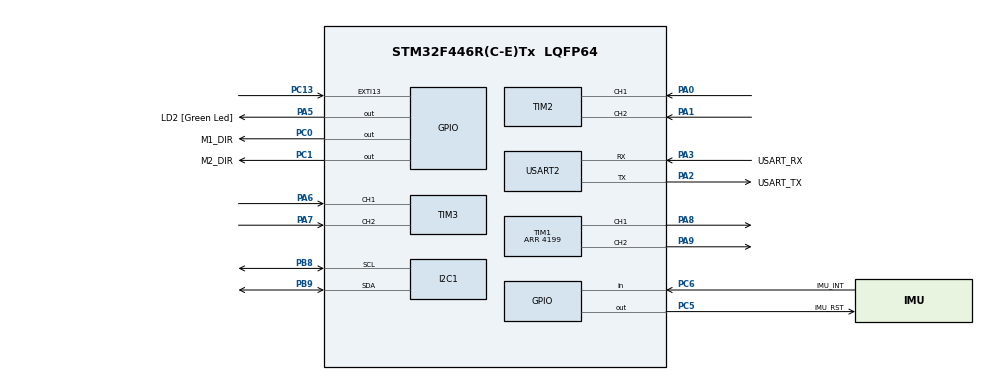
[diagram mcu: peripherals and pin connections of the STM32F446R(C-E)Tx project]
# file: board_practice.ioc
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Mcu.Family=STM32F4
Mcu.Name=STM32F446R(C-E)Tx
Mcu.Package=LQFP64
NUCLEO-F446RE.BUTTON=1
NVIC.EXTI15_10_IRQn=true\:0\:0\:false\:false\:true\:false\:true\:true
NVIC.PriorityGroup=NVIC_PRIORITYGROUP_0
NVIC.USART2_IRQn=true\:0\:0\:false\:false\:true\:true\:true\:true
PA0-WKUP.Signal=S_TIM2_CH1_ETR
PA1.Signal=S_TIM2_CH2
PA13.GPIO_Label=TMS
PA13.Signal=SYS_JTMS-SWDIO
PA14.GPIO_Label=TCK
PA14.Signal=SYS_JTCK-SWCLK
PA2.GPIO_Label=USART_TX
PA2.Mode=Asynchronous
PA2.Signal=USART2_TX
PA3.GPIO_Label=USART_RX
PA3.Mode=Asynchronous
PA3.Signal=USART2_RX
PA5.GPIO_Label=LD2 [Green Led]
PA5.Signal=GPIO_Output
PA6.Signal=S_TIM3_CH1
PA7.Signal=S_TIM3_CH2
PA8.Signal=S_TIM1_CH1
PA9.Signal=S_TIM1_CH2
PB3.GPIO_Label=SWO
PB3.Signal=SYS_JTDO-SWO
PB8.Mode=I2C
PB8.Signal=I2C1_SCL
PB9.Mode=I2C
PB9.Signal=I2C1_SDA
PC0.GPIO_Label=M1_DIR
PC0.Signal=GPIO_Output
PC1.GPIO_Label=M2_DIR
PC1.Signal=GPIO_Output
PC13.Signal=GPXTI13
PC14-OSC32_IN.Signal=RCC_OSC32_IN
PC15-OSC32_OUT.Signal=RCC_OSC32_OUT
PC5.GPIO_Label=IMU_RST
PC5.PinState=GPIO_PIN_SET
PC5.Signal=GPIO_Output
PC6.GPIO_Label=IMU_INT
PC6.GPIO_PuPd=GPIO_PULLUP
PC6.Signal=GPIO_Input
PH0-OSC_IN.Signal=RCC_OSC_IN
PH1-OSC_OUT.Signal=RCC_OSC_OUT
ProjectManager.HeapSize=0x200
ProjectManager.StackSize=0x400
ProjectManager.TargetToolchain=STM32CubeIDE
RCC.AHBFreq_Value=84000000
RCC.APB1CLKDivider=RCC_HCLK_DIV2
RCC.APB1Freq_Value=42000000
RCC.APB1TimFreq_Value=84000000
RCC.APB2Freq_Value=84000000
RCC.APB2TimFreq_Value=84000000
RCC.CortexFreq_Value=84000000
RCC.FLatency-AdvancedSettings=FLASH_LATENCY_2
RCC.HCLKFreq_Value=84000000
RCC.HSE_VALUE=8000000
RCC.HSI_VALUE=16000000
RCC.LSE_VALUE=32768
RCC.PLLN=336
RCC.PLLP=RCC_PLLP_DIV4
RCC.SYSCLKFreq_VALUE=84000000
RCC.SYSCLKSource=RCC_SYSCLKSOURCE_PLLCLK
RCC.USBFreq_Value=168000000
RCC.VCOOutputFreq_Value=336000000
SH.S_TIM1_CH1.0=TIM1_CH1,PWM Generation1 CH1
SH.S_TIM1_CH2.0=TIM1_CH2,PWM Generation2 CH2
SH.S_TIM2_CH1_ETR.0=TIM2_CH1,Encoder_Interface
SH.S_TIM2_CH2.0=TIM2_CH2,Encoder_Interface
SH.S_TIM3_CH1.0=TIM3_CH1,Encoder_Interface
SH.S_TIM3_CH2.0=TIM3_CH2,Encoder_Interface
TIM1.AutoReloadPreload=TIM_AUTORELOAD_PRELOAD_ENABLE
TIM1.Channel-PWM\ Generation1\ CH1=TIM_CHANNEL_1
TIM1.Channel-PWM\ Generation2\ CH2=TIM_CHANNEL_2
TIM1.Period=4199
TIM2.EncoderMode=TIM_ENCODERMODE_TI12
TIM2.IC1Filter=4
TIM2.IC2Filter=4
TIM3.EncoderMode=TIM_ENCODERMODE_TI12
TIM3.IC1Filter=4
TIM3.IC2Filter=4
USART2.VirtualMode=VM_ASYNC
VP_NUCLEO-F446RE_VS_BSP_COMMON.Mode=COMMON
VP_TIM1_VS_ClockSourceINT.Mode=Internal
board=NUCLEO-F446RE

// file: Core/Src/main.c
/* USER CODE BEGIN Header */
/**
  ******************************************************************************
  * @file           : main.c
  * @brief          : Main program body
  ******************************************************************************
  * @attention
  *
  * Copyright (c) 2026 STMicroelectronics.
  * All rights reserved.
  *
  * This software is licensed under terms that can be found in the LICENSE file
  * in the root directory of this software component.
  * If no LICENSE file comes with this software, it is provided AS-IS.
  *
  ******************************************************************************
  */
/* USER CODE END Header */
#include "main.h"

/* USER CODE BEGIN Includes */
#include <stdio.h>
#include "motor_control.h"
#include "robot_control.h"
#include "imu_app.h"

#include <stdlib.h>
#include <string.h>
#include <errno.h>
#include <math.h>
/* USER CODE END Includes */

/* USER CODE BEGIN PD */
#define COMMAND_TIMEOUT_MS 500U
#define CONTROL_PERIOD_MS 100U
/* ROS2 odom/TF 주기. SLAM·Nav2를 위해 1000 ms에서 100 ms(10 Hz)로 변경 */
#define TELEMETRY_PERIOD_MS 100U
/* 이 시간보다 오래된 IMU 값은 telemetry에 넣지 않는다(IS=0). */
#define IMU_MAX_AGE_MS 100U
/* USER CODE END PD */

I2C_HandleTypeDef hi2c1;

TIM_HandleTypeDef htim1;
TIM_HandleTypeDef htim2;
TIM_HandleTypeDef htim3;

UART_HandleTypeDef huart2;

/* USER CODE BEGIN PV */
Motor motor1 = {
	.config = {
		.encoder_timer = &htim2,
		.pwm_timer = &htim1,
		.pwm_channel = TIM_CHANNEL_1,

		.dir_port = M1_DIR_GPIO_Port,
		.dir_pin = M1_DIR_Pin,

		.encoder_bits = 32U,
		.encoder_sign = 1,

		.counts_per_turn = 2473.6f,
		/* 2026-11-23 Jetson·배터리 탑재 후 LiDAR 스캔 매칭 24구간: 엔코더가 실제보다 전진 -2.1°,
		 * 후진 +2.2° 돌았다고 계산(오른쪽이 1.7% 덜 셈). 342.7/333.5로 1차 보정 후 반대로 넘어가(+1.6°)
		 * 보간한 343.9/332.3에서 엔코더-실제 회전 차이 약 0 (±0.5°). 평균 거리 유지. */
		.wheel_circumference_mm = 343.9f,

		/* 고정 듀티 시험(9~14%) 좌우 평균 직선 근사: duty = 7.5 + 0.097 v.
		 * 좌우 차이는 고정하지 않는다(GitHub 기록상 더 빠른 쪽이 매번 같지 않음).
		 * 차이는 heading hold(엔코더 P + IMU I)가 보정한다. */
		.ff_offset_percent = 7.5f,
		.ff_slope_percent_per_mm_s = 0.097f
	}
};

Motor motor2 = {
	.config = {
		.encoder_timer = &htim3,
		.pwm_timer = &htim1,
		.pwm_channel = TIM_CHANNEL_2,

		.dir_port = M2_DIR_GPIO_Port,
		.dir_pin = M2_DIR_Pin,

		.encoder_bits = 16U,
		.encoder_sign = 1,

		.counts_per_turn = 2464.5f,
		/* 2026-11-22 볼 캐스터 1개, 50 cm 왕복 시험: 전진·후진 모두 엔코더가 IMU보다
		 * 약 5° 더 돈 것으로 계산(오른쪽이 약 4.3% 더 감)되어 345.6 x 0.957 = 330.7로 보정.
		 * 보정 후 엔코더-IMU 차이 0.5° 이하. 타이어 지름 차이 등 원인은 미확정. */
		.wheel_circumference_mm = 332.3f,

		.ff_offset_percent = 7.5f,
		.ff_slope_percent_per_mm_s = 0.097f
	}
};

Robot robot = {
	.left_motor = &motor1,
	.right_motor = &motor2,
	.wheel_track_mm = WHEEL_TRACK_MM,
	.heading = {
		.kp_encoder = HEADING_KP,
		.kp_imu = HEADING_KP_IMU,
		.ki = HEADING_KI,
		.max_corr_rad_s = HEADING_MAX_CORR_RAD_S
	}
};
float linear_speed_mm_s = 0.0f;
float angular_speed_rad_s = 0.0f;

/* 기본 odom 필드 + IMU 필드 한 줄 (최대 약 170자) */
static char uart_message[224];
static uint32_t telemetry_seq = 0U;
static volatile uint8_t uart_tx_busy = 0U;

HAL_StatusTypeDef uart_tx_status = HAL_OK;

#define UART_RX_BUFFER_SIZE 64U

static uint8_t uart_rx_byte;
static uint8_t uart_rx_buffer[UART_RX_BUFFER_SIZE];

static volatile uint16_t uart_rx_head = 0U;
static volatile uint16_t uart_rx_tail = 0U;

static volatile uint8_t uart_rx_overflow = 0U;

HAL_StatusTypeDef uart_rx_status = HAL_OK;

static char uart_line[64];
static uint16_t uart_line_length = 0U;
static uint8_t uart_line_ready = 0U;
static uint8_t uart_discard_line = 0U;

static uint32_t last_command_tick = 0U;

/* USER CODE END PV */

void SystemClock_Config(void);
static void MX_GPIO_Init(void);
static void MX_TIM2_Init(void);
static void MX_TIM1_Init(void);
static void MX_TIM3_Init(void);
static void MX_USART2_UART_Init(void);
static void MX_I2C1_Init(void);

/* USER CODE BEGIN 0 */
void HAL_UART_TxCpltCallback(UART_HandleTypeDef *huart){
	if (huart->Instance == USART2) {
		uart_tx_busy = 0U;
	}
}

void HAL_UART_RxCpltCallback(UART_HandleTypeDef *huart){
	if (huart->Instance == USART2) {
		const uint16_t next_head =
			(uart_rx_head + 1U) % UART_RX_BUFFER_SIZE;

		if (next_head != uart_rx_tail) {
			/* 문자를 저장한 뒤 저장 위치를 공개합니다. */
			uart_rx_buffer[uart_rx_head] = uart_rx_byte;
			uart_rx_head = next_head;
		}
		else {
			/* 해석이나 모터 제어는 하지 않고 상태만 표시합니다. */
			uart_rx_overflow = 1U;
		}

		/* 다음 문자도 받도록 다시 요청합니다. */
		uart_rx_status = HAL_UART_Receive_IT(
			&huart2,
			&uart_rx_byte,
			1U
		);
	}
}

static void UART_ReceiveTask(void)
{
    /* 완성된 명령은 메인이 해석할 때까지 유지합니다. */
    if (uart_line_ready != 0U) {
        return;
    }

    if (uart_rx_overflow != 0U) {
        /* 넘친 버퍼를 비우는 짧은 구간만 인터럽트를 막습니다. */
        const uint32_t saved_primask = __get_PRIMASK();
        __disable_irq();

        uart_rx_tail = uart_rx_head;
        uart_rx_overflow = 0U;

        __set_PRIMASK(saved_primask);

        uart_line_length = 0U;
        uart_discard_line = 1U;
    }

    /* 한 번의 호출에서 처리량을 제한해 모터 제어로 돌아갑니다. */
    for (uint16_t i = 0U; i < UART_RX_BUFFER_SIZE; i++) {
        if (uart_rx_tail == uart_rx_head) {
            break;
        }

        const uint8_t received = uart_rx_buffer[uart_rx_tail];

        uart_rx_tail =
            (uart_rx_tail + 1U) % UART_RX_BUFFER_SIZE;

        if (received == '\n') {
            if (uart_discard_line == 0U &&
                uart_line_length > 0U) {

                uart_line[uart_line_length] = '\0';
                uart_line_length = 0U;
                uart_line_ready = 1U;
                return;
            }

            uart_line_length = 0U;
            uart_discard_line = 0U;
        }
        else if (received == '\r') {
            /* CRLF 줄바꿈의 CR은 제외합니다. */
        }
        else if (uart_discard_line == 0U) {
            if (received >= 32U && received <= 126U &&
                uart_line_length < sizeof(uart_line) - 1U) {

                uart_line[uart_line_length++] = (char)received;
            }
            else {
                /* 잘린 명령을 적용하지 않도록 줄 전체를 버립니다. */
                uart_line_length = 0U;
                uart_discard_line = 1U;
            }
        }
    }
}

static void UART_ApplyCommand(void)
{
    if (strncmp(uart_line, "V=", 2U) != 0) {
        return;
    }

    char *end;
    const char *start = uart_line + 2;

    errno = 0;
    const long linear = strtol(start, &end, 10);

    if (end == start || errno == ERANGE ||
        strncmp(end, " W=", 3U) != 0) {
        return;
    }

    start = end + 3;

    errno = 0;
    const long angular = strtol(start, &end, 10);

    if (end == start || errno == ERANGE || *end != '\0') {
        return;
    }

    /* 이번 명령 인터페이스의 허용 범위입니다. */
    if (linear < -200L || linear > 200L ||
        angular < -2000L || angular > 2000L) {
        return;
    }

    /* 두 값이 모두 정상일 때만 함께 적용합니다. */
    linear_speed_mm_s = (float)linear;
    angular_speed_rad_s = (float)angular / 1000.0f;

    last_command_tick = HAL_GetTick();
}

/*
 * ROS2로 보내는 telemetry 한 줄을 만든다.
 *   L=<mm/s> R=<mm/s> X=<mm> Y=<mm> A=<mrad> T=<ms> N=<seq> IS=<0|1>
 *   IS=1이면 뒤에 QX QY QZ QW(쿼터니언 x10000), GX GY GZ(mrad/s), QA GA(정확도 0~3)를 붙인다.
 * IMU 값은 센서 자체 축 기준이다.
 */
static int Telemetry_Format(uint32_t now)
{
	int length = snprintf(
		uart_message,
		sizeof(uart_message),
		"L=%ld R=%ld X=%ld Y=%ld A=%ld T=%lu N=%lu H=%ld",
		(long)motor1.state.speed_mm_s,
		(long)motor2.state.speed_mm_s,
		(long)robot.state.x_mm,
		(long)robot.state.y_mm,
		(long)(robot.state.yaw_rad * 1000.0f),
		(unsigned long)now,
		(unsigned long)telemetry_seq,
		/* 방향 유지 보정 각속도 mrad/s, 직진 보정 중이 아니면 0 */
		(long)lroundf(robot.hold.correction_rad_s * 1000.0f)
	);

	if (length <= 0 || (size_t)length >= sizeof(uart_message)) {
		return -1;
	}

	int added;

	if (ImuApp_IsFresh(IMU_MAX_AGE_MS) != 0U) {
		added = snprintf(
			uart_message + length,
			sizeof(uart_message) - (size_t)length,
			" IS=1 QX=%ld QY=%ld QZ=%ld QW=%ld GX=%ld GY=%ld GZ=%ld QA=%u GA=%u\r\n",
			(long)lroundf(g_imu.qx * 10000.0f),
			(long)lroundf(g_imu.qy * 10000.0f),
			(long)lroundf(g_imu.qz * 10000.0f),
			(long)lroundf(g_imu.qw * 10000.0f),
			(long)lroundf(g_imu.gx * 1000.0f),
			(long)lroundf(g_imu.gy * 1000.0f),
			(long)lroundf(g_imu.gz * 1000.0f),
			(unsigned)g_imu.rotation_status,
			(unsigned)g_imu.gyro_status
		);
	}
	else {
		added = snprintf(
			uart_message + length,
			sizeof(uart_message) - (size_t)length,
			" IS=0\r\n"
		);
	}

	if (added <= 0 || (size_t)(length + added) >= sizeof(uart_message)) {
		return -1;
	}

	return length + added;
}

/* USER CODE END 0 */

int main(void)
{

  /* USER CODE BEGIN 1 */
	uint32_t previous_tick = 0;

	uint32_t previous_uart_tick = 0;
  /* USER CODE END 1 */

  /* MCU Configuration--------------------------------------------------------*/

  /* Reset of all peripherals, Initializes the Flash interface and the Systick. */
  HAL_Init();

  /* Configure the system clock */
  SystemClock_Config();

  /* Initialize all configured peripherals */
  MX_GPIO_Init();
  MX_TIM2_Init();
  MX_TIM1_Init();
  MX_TIM3_Init();
  MX_USART2_UART_Init();
  MX_I2C1_Init();
  /* USER CODE BEGIN 2 */
  /* BNO085 리셋·연결·보고서 설정. 모터가 돌기 전이므로 대기해도 안전하다.
     센서가 없거나 실패해도 모터 제어는 계속 동작한다(g_imu.online = 0). */
  ImuApp_Init(&hi2c1);

  if (Motor_Init(&motor1) != HAL_OK){
	  Error_Handler();
  }
  if (Motor_Init(&motor2) != HAL_OK){
  	  Error_Handler();
  }

  previous_tick = HAL_GetTick();

  uart_rx_status = HAL_UART_Receive_IT(
	  &huart2, &uart_rx_byte, 1U
  );

  if (uart_rx_status != HAL_OK){
	  Error_Handler();
  }
  /* USER CODE END 2 */

  /* Initialize USER push-button, will be used to trigger an interrupt each time it's pressed.*/
  BSP_PB_Init(BUTTON_USER, BUTTON_MODE_EXTI);

  /* Infinite loop */
  while (1)
  {

    /* USER CODE BEGIN 3 */
	  UART_ReceiveTask();

	    if (uart_line_ready != 0U) {
	        UART_ApplyCommand();

	        uart_line_ready = 0U;
	    }

	  const uint32_t now = HAL_GetTick();

	    if ((uint32_t)(now - last_command_tick) >= COMMAND_TIMEOUT_MS) {
	        linear_speed_mm_s = 0.0f;
	        angular_speed_rad_s = 0.0f;
	    }

	  /* IMU 수신. 재연결(수백 ms 대기)은 정지 명령 상태에서만 허용한다. */
	  ImuApp_Process(
		  (linear_speed_mm_s == 0.0f && angular_speed_rad_s == 0.0f) ? 1U : 0U
	  );

	  if ((uint32_t)(now - previous_tick) >= CONTROL_PERIOD_MS){
		  const uint32_t sample_dt_ms = now - previous_tick;

		  Robot_SetFeedforward(
			  &robot,
			  linear_speed_mm_s,
			  angular_speed_rad_s
		  );

		  /* 직진 명령(W=0)일 때만 방향 유지 보정을 더한다. */
		  const float angular_command = Robot_HeadingHold(
			  &robot,
			  linear_speed_mm_s,
			  angular_speed_rad_s,
			  ImuApp_IsFresh(IMU_MAX_AGE_MS),
			  g_imu.yaw_rad,
			  sample_dt_ms
		  );

		  Robot_SetVelocity(
			  &robot,
			  linear_speed_mm_s,
			  angular_command
		  );
		  // 모터 측정과 제어 수행
		  Robot_Update(&robot, sample_dt_ms);

		  previous_tick = now;
	  }

	  if ((uint32_t)(now - previous_uart_tick) >= TELEMETRY_PERIOD_MS) {
		  previous_uart_tick = now;

		  if (uart_tx_busy == 0U){
			  const int length = Telemetry_Format(now);
			  telemetry_seq++;

			  if (length > 0){

				  uart_tx_busy = 1U;

				  uart_tx_status = HAL_UART_Transmit_IT(
					  &huart2,
					  (uint8_t *)uart_message,
					  (uint16_t)length
				  );

				  if (uart_tx_status != HAL_OK){
					  uart_tx_busy = 0U;
				  }
			  }
		  }
	  }
  }
  /* USER CODE END 3 */
}

void SystemClock_Config(void)
{
  RCC_OscInitTypeDef RCC_OscInitStruct = {0};
  RCC_ClkInitTypeDef RCC_ClkInitStruct = {0};

  /* encorder_test 설정: ST-LINK MCO 8 MHz를 HSE Bypass로 시도하고,
   * 준비 실패 시 HSI로 복귀한다. 두 경로 모두 SYSCLK 84 MHz.
   * CubeMX 재생성 시 이 사용자 변경이 덮어써지므로 다시 적용해야 한다. */
  uint8_t hse_active = 0U;
  {
    RCC_OscInitTypeDef hse_probe = {0};
    hse_probe.OscillatorType = RCC_OSCILLATORTYPE_HSE;
    hse_probe.HSEState = RCC_HSE_BYPASS;
    hse_probe.PLL.PLLState = RCC_PLL_NONE;
    if (HAL_RCC_OscConfig(&hse_probe) == HAL_OK){
      hse_active = 1U;
    }
    else{
      hse_probe.HSEState = RCC_HSE_OFF;
      if (HAL_RCC_OscConfig(&hse_probe) != HAL_OK){
        Error_Handler();
      }
    }
  }

  /** Configure the main internal regulator output voltage
  */
  __HAL_RCC_PWR_CLK_ENABLE();
  __HAL_PWR_VOLTAGESCALING_CONFIG(PWR_REGULATOR_VOLTAGE_SCALE3);

  /** Initializes the RCC Oscillators according to the specified parameters
  * in the RCC_OscInitTypeDef structure.
  */
  RCC_OscInitStruct.OscillatorType = RCC_OSCILLATORTYPE_HSI;
  RCC_OscInitStruct.HSIState = RCC_HSI_ON;
  RCC_OscInitStruct.HSICalibrationValue = RCC_HSICALIBRATION_DEFAULT;
  RCC_OscInitStruct.PLL.PLLState = RCC_PLL_ON;
  RCC_OscInitStruct.PLL.PLLSource =
      hse_active != 0U ? RCC_PLLSOURCE_HSE : RCC_PLLSOURCE_HSI;
  RCC_OscInitStruct.PLL.PLLM = hse_active != 0U ? 8U : 16U;
  RCC_OscInitStruct.PLL.PLLN = 336;
  RCC_OscInitStruct.PLL.PLLP = RCC_PLLP_DIV4;
  RCC_OscInitStruct.PLL.PLLQ = 2;
  RCC_OscInitStruct.PLL.PLLR = 2;
  if (HAL_RCC_OscConfig(&RCC_OscInitStruct) != HAL_OK)
  {
    Error_Handler();
  }

  /** Initializes the CPU, AHB and APB buses clocks
  */
  RCC_ClkInitStruct.ClockType = RCC_CLOCKTYPE_HCLK|RCC_CLOCKTYPE_SYSCLK
                              |RCC_CLOCKTYPE_PCLK1|RCC_CLOCKTYPE_PCLK2;
  RCC_ClkInitStruct.SYSCLKSource = RCC_SYSCLKSOURCE_PLLCLK;
  RCC_ClkInitStruct.AHBCLKDivider = RCC_SYSCLK_DIV1;
  RCC_ClkInitStruct.APB1CLKDivider = RCC_HCLK_DIV2;
  RCC_ClkInitStruct.APB2CLKDivider = RCC_HCLK_DIV1;

  if (HAL_RCC_ClockConfig(&RCC_ClkInitStruct, FLASH_LATENCY_2) != HAL_OK)
  {
    Error_Handler();
  }
}

static void MX_I2C1_Init(void)
{

  hi2c1.Instance = I2C1;
  hi2c1.Init.ClockSpeed = 100000;
  hi2c1.Init.DutyCycle = I2C_DUTYCYCLE_2;
  hi2c1.Init.OwnAddress1 = 0;
  hi2c1.Init.AddressingMode = I2C_ADDRESSINGMODE_7BIT;
  hi2c1.Init.DualAddressMode = I2C_DUALADDRESS_DISABLE;
  hi2c1.Init.OwnAddress2 = 0;
  hi2c1.Init.GeneralCallMode = I2C_GENERALCALL_DISABLE;
  hi2c1.Init.NoStretchMode = I2C_NOSTRETCH_DISABLE;
  if (HAL_I2C_Init(&hi2c1) != HAL_OK)
  {
    Error_Handler();
  }

}

static void MX_TIM1_Init(void)
{

  TIM_ClockConfigTypeDef sClockSourceConfig = {0};
  TIM_MasterConfigTypeDef sMasterConfig = {0};
  TIM_OC_InitTypeDef sConfigOC = {0};
  TIM_BreakDeadTimeConfigTypeDef sBreakDeadTimeConfig = {0};

  htim1.Instance = TIM1;
  htim1.Init.Prescaler = 0;
  htim1.Init.CounterMode = TIM_COUNTERMODE_UP;
  htim1.Init.Period = 4199;
  htim1.Init.ClockDivision = TIM_CLOCKDIVISION_DIV1;
  htim1.Init.RepetitionCounter = 0;
  htim1.Init.AutoReloadPreload = TIM_AUTORELOAD_PRELOAD_ENABLE;
  if (HAL_TIM_Base_Init(&htim1) != HAL_OK)
  {
    Error_Handler();
  }
  sClockSourceConfig.ClockSource = TIM_CLOCKSOURCE_INTERNAL;
  if (HAL_TIM_ConfigClockSource(&htim1, &sClockSourceConfig) != HAL_OK)
  {
    Error_Handler();
  }
  if (HAL_TIM_PWM_Init(&htim1) != HAL_OK)
  {
    Error_Handler();
  }
  sMasterConfig.MasterOutputTrigger = TIM_TRGO_RESET;
  sMasterConfig.MasterSlaveMode = TIM_MASTERSLAVEMODE_DISABLE;
  if (HAL_TIMEx_MasterConfigSynchronization(&htim1, &sMasterConfig) != HAL_OK)
  {
    Error_Handler();
  }
  sConfigOC.OCMode = TIM_OCMODE_PWM1;
  sConfigOC.Pulse = 0;
  sConfigOC.OCPolarity = TIM_OCPOLARITY_HIGH;
  sConfigOC.OCNPolarity = TIM_OCNPOLARITY_HIGH;
  sConfigOC.OCFastMode = TIM_OCFAST_DISABLE;
  sConfigOC.OCIdleState = TIM_OCIDLESTATE_RESET;
  sConfigOC.OCNIdleState = TIM_OCNIDLESTATE_RESET;
  if (HAL_TIM_PWM_ConfigChannel(&htim1, &sConfigOC, TIM_CHANNEL_1) != HAL_OK)
  {
    Error_Handler();
  }
  if (HAL_TIM_PWM_ConfigChannel(&htim1, &sConfigOC, TIM_CHANNEL_2) != HAL_OK)
  {
    Error_Handler();
  }
  sBreakDeadTimeConfig.OffStateRunMode = TIM_OSSR_DISABLE;
  sBreakDeadTimeConfig.OffStateIDLEMode = TIM_OSSI_DISABLE;
  sBreakDeadTimeConfig.LockLevel = TIM_LOCKLEVEL_OFF;
  sBreakDeadTimeConfig.DeadTime = 0;
  sBreakDeadTimeConfig.BreakState = TIM_BREAK_DISABLE;
  sBreakDeadTimeConfig.BreakPolarity = TIM_BREAKPOLARITY_HIGH;
  sBreakDeadTimeConfig.AutomaticOutput = TIM_AUTOMATICOUTPUT_DISABLE;
  if (HAL_TIMEx_ConfigBreakDeadTime(&htim1, &sBreakDeadTimeConfig) != HAL_OK)
  {
    Error_Handler();
  }
  HAL_TIM_MspPostInit(&htim1);

}

static void MX_TIM2_Init(void)
{

  TIM_Encoder_InitTypeDef sConfig = {0};
  TIM_MasterConfigTypeDef sMasterConfig = {0};

  htim2.Instance = TIM2;
  htim2.Init.Prescaler = 0;
  htim2.Init.CounterMode = TIM_COUNTERMODE_UP;
  htim2.Init.Period = 4294967295;
  htim2.Init.ClockDivision = TIM_CLOCKDIVISION_DIV1;
  htim2.Init.AutoReloadPreload = TIM_AUTORELOAD_PRELOAD_DISABLE;
  sConfig.EncoderMode = TIM_ENCODERMODE_TI12;
  sConfig.IC1Polarity = TIM_ICPOLARITY_RISING;
  sConfig.IC1Selection = TIM_ICSELECTION_DIRECTTI;
  sConfig.IC1Prescaler = TIM_ICPSC_DIV1;
  sConfig.IC1Filter = 4;
  sConfig.IC2Polarity = TIM_ICPOLARITY_RISING;
  sConfig.IC2Selection = TIM_ICSELECTION_DIRECTTI;
  sConfig.IC2Prescaler = TIM_ICPSC_DIV1;
  sConfig.IC2Filter = 4;
  if (HAL_TIM_Encoder_Init(&htim2, &sConfig) != HAL_OK)
  {
    Error_Handler();
  }
  sMasterConfig.MasterOutputTrigger = TIM_TRGO_RESET;
  sMasterConfig.MasterSlaveMode = TIM_MASTERSLAVEMODE_DISABLE;
  if (HAL_TIMEx_MasterConfigSynchronization(&htim2, &sMasterConfig) != HAL_OK)
  {
    Error_Handler();
  }

}

static void MX_TIM3_Init(void)
{

  TIM_Encoder_InitTypeDef sConfig = {0};
  TIM_MasterConfigTypeDef sMasterConfig = {0};

  htim3.Instance = TIM3;
  htim3.Init.Prescaler = 0;
  htim3.Init.CounterMode = TIM_COUNTERMODE_UP;
  htim3.Init.Period = 65535;
  htim3.Init.ClockDivision = TIM_CLOCKDIVISION_DIV1;
  htim3.Init.AutoReloadPreload = TIM_AUTORELOAD_PRELOAD_DISABLE;
  sConfig.EncoderMode = TIM_ENCODERMODE_TI12;
  sConfig.IC1Polarity = TIM_ICPOLARITY_RISING;
  sConfig.IC1Selection = TIM_ICSELECTION_DIRECTTI;
  sConfig.IC1Prescaler = TIM_ICPSC_DIV1;
  sConfig.IC1Filter = 4;
  sConfig.IC2Polarity = TIM_ICPOLARITY_RISING;
  sConfig.IC2Selection = TIM_ICSELECTION_DIRECTTI;
  sConfig.IC2Prescaler = TIM_ICPSC_DIV1;
  sConfig.IC2Filter = 4;
  if (HAL_TIM_Encoder_Init(&htim3, &sConfig) != HAL_OK)
  {
    Error_Handler();
  }
  sMasterConfig.MasterOutputTrigger = TIM_TRGO_RESET;
  sMasterConfig.MasterSlaveMode = TIM_MASTERSLAVEMODE_DISABLE;
  if (HAL_TIMEx_MasterConfigSynchronization(&htim3, &sMasterConfig) != HAL_OK)
  {
    Error_Handler();
  }

}

static void MX_USART2_UART_Init(void)
{

  huart2.Instance = USART2;
  huart2.Init.BaudRate = 115200;
  huart2.Init.WordLength = UART_WORDLENGTH_8B;
  huart2.Init.StopBits = UART_STOPBITS_1;
  huart2.Init.Parity = UART_PARITY_NONE;
  huart2.Init.Mode = UART_MODE_TX_RX;
  huart2.Init.HwFlowCtl = UART_HWCONTROL_NONE;
  huart2.Init.OverSampling = UART_OVERSAMPLING_16;
  if (HAL_UART_Init(&huart2) != HAL_OK)
  {
    Error_Handler();
  }

}

static void MX_GPIO_Init(void)
{
  GPIO_InitTypeDef GPIO_InitStruct = {0};

  /* GPIO Ports Clock Enable */
  __HAL_RCC_GPIOC_CLK_ENABLE();
  __HAL_RCC_GPIOH_CLK_ENABLE();
  __HAL_RCC_GPIOA_CLK_ENABLE();
  __HAL_RCC_GPIOB_CLK_ENABLE();

  /*Configure GPIO pin Output Level */
  HAL_GPIO_WritePin(GPIOC, M1_DIR_Pin|M2_DIR_Pin, GPIO_PIN_RESET);

  /*Configure GPIO pin Output Level */
  HAL_GPIO_WritePin(LD2_GPIO_Port, LD2_Pin, GPIO_PIN_RESET);

  /*Configure GPIO pin Output Level */
  HAL_GPIO_WritePin(IMU_RST_GPIO_Port, IMU_RST_Pin, GPIO_PIN_SET);

  /*Configure GPIO pins : M1_DIR_Pin M2_DIR_Pin IMU_RST_Pin */
  GPIO_InitStruct.Pin = M1_DIR_Pin|M2_DIR_Pin|IMU_RST_Pin;
  GPIO_InitStruct.Mode = GPIO_MODE_OUTPUT_PP;
  GPIO_InitStruct.Pull = GPIO_NOPULL;
  GPIO_InitStruct.Speed = GPIO_SPEED_FREQ_LOW;
  HAL_GPIO_Init(GPIOC, &GPIO_InitStruct);

  /*Configure GPIO pin : LD2_Pin */
  GPIO_InitStruct.Pin = LD2_Pin;
  GPIO_InitStruct.Mode = GPIO_MODE_OUTPUT_PP;
  GPIO_InitStruct.Pull = GPIO_NOPULL;
  GPIO_InitStruct.Speed = GPIO_SPEED_FREQ_LOW;
  HAL_GPIO_Init(LD2_GPIO_Port, &GPIO_InitStruct);

  /*Configure GPIO pin : IMU_INT_Pin */
  GPIO_InitStruct.Pin = IMU_INT_Pin;
  GPIO_InitStruct.Mode = GPIO_MODE_INPUT;
  GPIO_InitStruct.Pull = GPIO_PULLUP;
  HAL_GPIO_Init(IMU_INT_GPIO_Port, &GPIO_InitStruct);

}

void Error_Handler(void)
{
  /* USER CODE BEGIN Error_Handler_Debug */
	if (htim1.Instance == TIM1)
	{
		HAL_TIM_PWM_Stop(&htim1, TIM_CHANNEL_1);
		HAL_TIM_PWM_Stop(&htim1, TIM_CHANNEL_2);
	}
  /* User can add his own implementation to report the HAL error return state */
  __disable_irq();
  while (1)
  {
  }
  /* USER CODE END Error_Handler_Debug */
}
